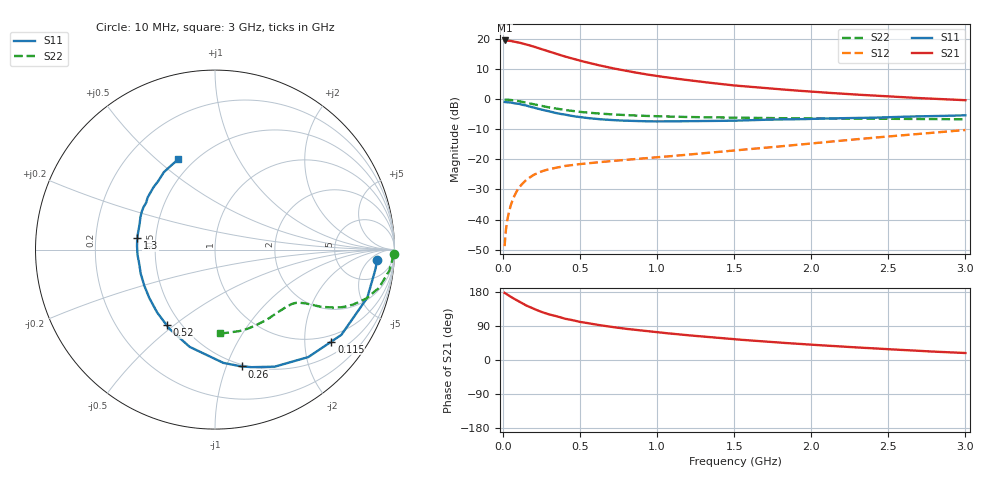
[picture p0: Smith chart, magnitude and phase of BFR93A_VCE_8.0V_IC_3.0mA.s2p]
! Infineon Technologies  Discrete & RF Semiconductors
! BFR93A
! VCE =  8.0 V,  IC =  3.0 mA
! Common Emitter S-Parameters:  Nov 2015
# GHz  S  MA  R  50
!  f  S11  S21  S12  S22
! GHz  MAG  ANG  MAG  ANG  MAG  ANG  MAG  ANG
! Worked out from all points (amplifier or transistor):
!   180 points, 10 MHz to 3 GHz, reference 50 ohm
!   highest |S21| = 19.6 dB at 10 MHz (marker M1)
!   |S21| within 3 dB of that: start of sweep to 256.6 MHz
!   unconditionally stable (mu >= 1): 897 MHz to 2.477 GHz
!   at 160 MHz: K = 0.25, MSG = 22.3 dB, |S12| = -26.4 dB
!   at 1.22 GHz: K = 1.12, MAG = 10.2 dB, |S12| = -18.3 dB
!   at 3 GHz: K = 0.90, MSG = 5.0 dB, |S12| = -10.2 dB
!   S11 on the Smith chart (normalised r, x): 10 MHz: 15, -9; 115 MHz: 0.82, -2.66; 260 MHz: 0.48, -1.13; 520 MHz: 0.42, -0.47; 1.3 GHz: 0.39, +0.06; 3 GHz: 0.41, +0.59
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0.01  0.9062 -3.5  9.585 177.1  0.0036 88.1  0.9954 -1.5
0.015  0.9029 -5.2  9.578 175.8  0.0054 85.7  0.9935 -2.1
0.025  0.8967 -8.7  9.537 173.1  0.0089 83.4  0.9891 -3.5
0.05  0.8899 -17.5  9.407 166.6  0.0173 81.0  0.9782 -6.9
0.1  0.8493 -34.0  8.915 155.0  0.0332 71.8  0.9386 -13.1
0.115  0.8266 -38.3  8.682 151.9  0.0368 69.1  0.9217 -14.5
0.15  0.7931 -49.0  8.248 143.9  0.0456 64.4  0.8846 -18.0
0.2  0.7321 -63.0  7.559 134.7  0.0556 59.0  0.8299 -21.6
0.26  0.6674 -77.2  6.743 125.4  0.0645 53.9  0.77 -24.7
0.3  0.6328 -85.8  6.252 120.2  0.069 51.5  0.7343 -26.1
0.4  0.56 -104.6  5.194 109.1  0.0778 47.6  0.6663 -28.5
0.5  0.5088 -120.1  4.406 100.5  0.0838 45.7  0.619 -29.7
0.52  0.5003 -122.5  4.282 99.3  0.0848 45.6  0.6126 -29.9
0.6  0.4758 -132.7  3.809 93.5  0.089 45.3  0.5869 -30.7
0.7  0.4546 -143.6  3.343 87.4  0.094 45.9  0.5641 -31.7
0.8  0.4422 -152.9  2.982 82.2  0.0987 46.9  0.5472 -32.7
1.02  0.4296 -170.8  2.408 72.4  0.1096 49.6  0.5229 -35.6
1.3  0.4381 171.8  1.948 61.6  0.1263 53.3  0.5046 -40.4
1.52  0.4441 161.0  1.69 54.1  0.1421 56.1  0.4944 -44.9
2.02  0.4754 141.6  1.338 39.9  0.1866 59.4  0.4818 -56.9
2.52  0.508 125.8  1.112 28.1  0.2441 59.2  0.4748 -70.7
3  0.5434 112.1  0.97 18.4  0.3091 56.2  0.4682 -86.6
